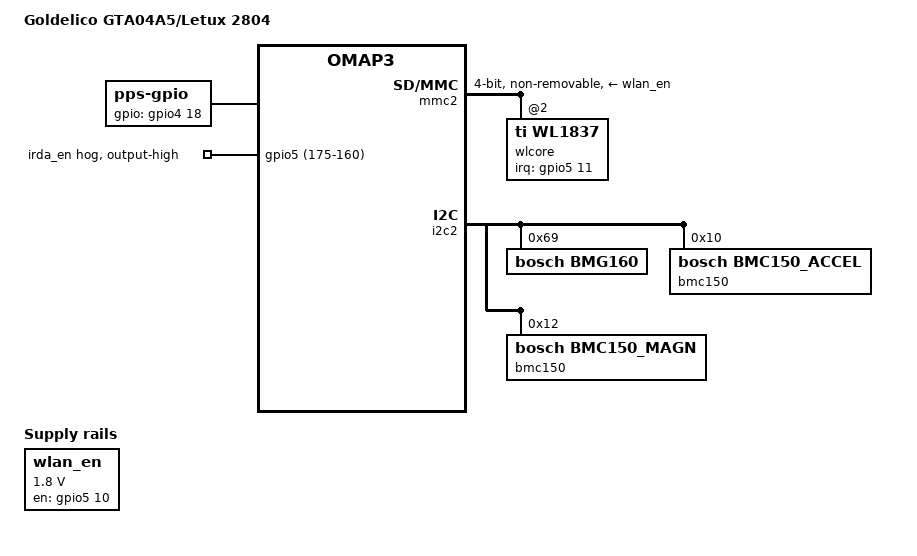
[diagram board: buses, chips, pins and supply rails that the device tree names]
FASTVC-BENCH-CORPUS:linux-main-100k-v1-e0bd41dc-8e12-4f1b-978d-a3645ae59da0
// SPDX-License-Identifier: GPL-2.0-only
/*
 * Copyright (C) 2014-18 H. Nikolaus Schaller <hns@goldelico.com>
 */

#include "omap3-gta04.dtsi"

/ {
	model = "Goldelico GTA04A5/Letux 2804";

	sound {
		ti,jack-det-gpio = <&twl_gpio 2 GPIO_ACTIVE_HIGH>;	/* GTA04A5 only */
	};

	wlan_en: wlan_en_regulator {
		compatible = "regulator-fixed";
		pinctrl-names = "default";
		pinctrl-0 = <&wlan_pins>;
		regulator-name = "wlan-en-regulator";
		regulator-min-microvolt = <1800000>;
		regulator-max-microvolt = <1800000>;

		gpio = <&gpio5 10 GPIO_ACTIVE_HIGH>;	/* GPIO_138 */

		startup-delay-us = <70000>;
		enable-active-high;
	};

	pps {
		compatible = "pps-gpio";
/* bench 23051.1.0 af18fec8b7b0 */
/* bench 23051.1.1 62df9e903624 */
/* bench 23051.1.2 0e5a5be409bd */
/* bench 23051.1.3 0dd3a28d0b07 */
/* bench 23051.1.4 a68cf43abae9 */
/* bench 23051.1.5 cbd0e44ec40a */
/* bench 23051.1.6 f23c10b6a31a */
/* bench 23051.1.7 b55db2010065 */
/* bench 23051.1.8 9d92c0892dfb */
/* bench 23051.1.9 9dec67d24aa5 */
/* bench 23051.1.10 ea034a171eb5 */
/* bench 23051.1.11 44dc5f6bf3cb */
/* bench 23051.1.12 840ee4339f0e */
		pinctrl-0 = <&pps_pins>;

		gpios = <&gpio4 18 GPIO_ACTIVE_HIGH>; /* GPIN_114 */
	};

};

&gpio5 {
	irda_en {
		gpio-hog;
		gpios = <(175-160) GPIO_ACTIVE_HIGH>;
		output-high;	/* activate gpio_175 to disable IrDA receiver */
	};
};

&omap3_pmx_core {
	bt_pins: pinmux_bt_pins {
		pinctrl-single,pins = <
			OMAP3_CORE1_IOPAD(0x2166, PIN_OUTPUT | MUX_MODE4)	/* mmc2_dat5 = mmc3_dat1 = gpio137 */
		>;
	};

	wlan_pins: pinmux_wlan_pins {
		pinctrl-single,pins = <
			OMAP3_CORE1_IOPAD(0x2168, PIN_OUTPUT | MUX_MODE4)	/* mmc2_dat6 = mmc3_dat2 = gpio138 */
		>;
	};

	wlan_irq_pin: pinmux_wlan_irq_pin {
		pinctrl-single,pins = <
			OMAP3_CORE1_IOPAD(0x216a, PIN_INPUT_PULLUP | MUX_MODE4)	/* mmc2_dat7 = mmc3_dat3 = gpio139 */
		>;
	};

	irda_pins: pinmux_irda {
		pinctrl-single,pins = <
			OMAP3_CORE1_IOPAD(0x21d0, PIN_OUTPUT_PULLUP | MUX_MODE4)	/* mcspi1_cs1 = gpio175 */
		>;
	};

	pps_pins: pinmux_pps_pins {
		pinctrl-single,pins = <
			OMAP3_CORE1_IOPAD(0x2138, PIN_INPUT | MUX_MODE4) /* gpin114 */
		>;
	};

};

/*
 * for WL183x module see
 * Documentation/devicetree/bindings/net/wireless/ti,wlcore.txt
 */

&wifi_pwrseq {
	/delete-property/ reset-gpios;
};

&mmc2 {
	vmmc-supply = <&wlan_en>;
	bus-width = <4>;
	cap-power-off-card;
	non-removable;

	pinctrl-names = "default";
	pinctrl-0 = <&wlan_irq_pin>;

	#address-cells = <1>;
	#size-cells = <0>;

	/delete-property/ mmc-pwrseq;

	wlcore: wlcore@2 {
		compatible = "ti,wl1837";
		reg = <2>;
		interrupt-parent = <&gpio5>;
		interrupts = <11 IRQ_TYPE_LEVEL_HIGH>;	/* GPIO_139 */
		ref-clock-frequency = <26000000>;
	};
};

&i2c2 {
	/delete-node/ bmp085@77;
	/delete-node/ bma180@41;
	/delete-node/ itg3200@68;
	/delete-node/ hmc5843@1e;

	bmg160@69 {
		compatible = "bosch,bmg160";
		reg = <0x69>;
	};

	bmc150@10 {
		compatible = "bosch,bmc150_accel";
		reg = <0x10>;
	};

	bmc150@12 {
		compatible = "bosch,bmc150_magn";
		reg = <0x12>;
	};
/* bench 13412.1.0 f9525351b788 */
/* bench 13412.1.1 686a14044e8b */
/* bench 13412.1.2 83bf5f65d785 */
/* bench 13412.1.3 85bf7a852169 */
/* bench 13412.1.4 a8d8ad066716 */
/* bench 13412.1.5 ec678177a894 */
/* bench 13412.1.6 8dd80d232493 */
/* bench 13412.1.7 e6b1bd32e03b */
		reg = <0x76>;
	};
};
